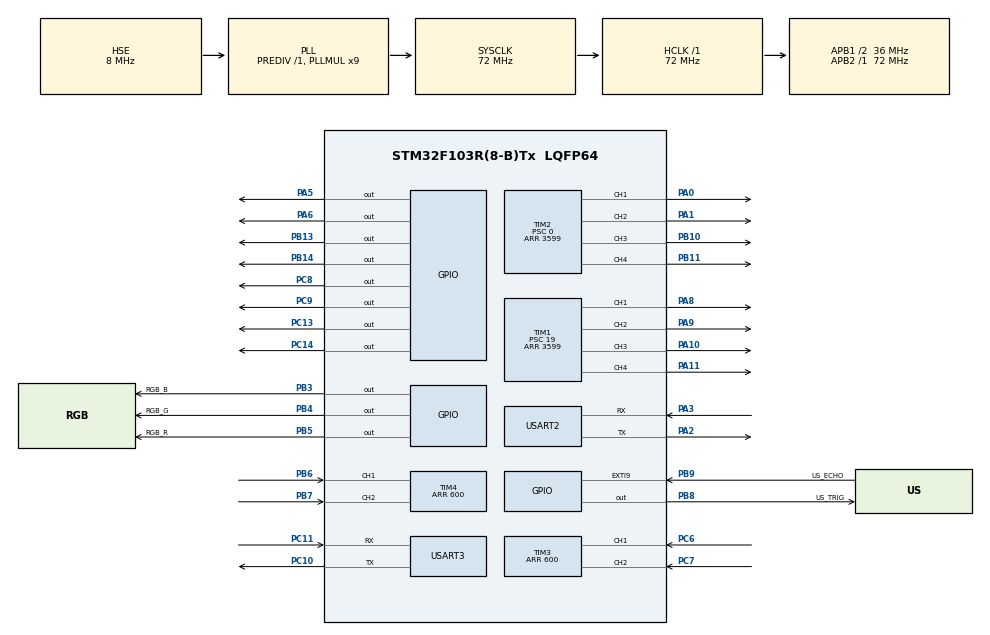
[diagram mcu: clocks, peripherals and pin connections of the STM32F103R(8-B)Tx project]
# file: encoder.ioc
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Mcu.Family=STM32F1
Mcu.Name=STM32F103R(8-B)Tx
Mcu.Package=LQFP64
NVIC.PriorityGroup=NVIC_PRIORITYGROUP_4
NVIC.TIM2_IRQn=true\:2\:0\:true\:false\:true\:true\:true\:true
NVIC.TIM3_IRQn=true\:0\:0\:true\:false\:true\:true\:true\:true
NVIC.USART2_IRQn=true\:1\:0\:false\:false\:true\:true\:true\:true
NVIC.USART3_IRQn=true\:1\:0\:false\:false\:true\:true\:true\:true
PA0-WKUP.Signal=S_TIM2_CH1_ETR
PA1.Signal=S_TIM2_CH2
PA10.Signal=S_TIM1_CH3
PA11.Signal=S_TIM1_CH4
PA13.Mode=Serial_Wire
PA13.Signal=SYS_JTMS-SWDIO
PA14.Mode=Serial_Wire
PA14.Signal=SYS_JTCK-SWCLK
PA2.Mode=Asynchronous
PA2.Signal=USART2_TX
PA3.Mode=Asynchronous
PA3.Signal=USART2_RX
PA5.Signal=GPIO_Output
PA6.Signal=GPIO_Output
PA8.Signal=S_TIM1_CH1
PA9.Signal=S_TIM1_CH2
PB10.Signal=S_TIM2_CH3
PB11.Signal=S_TIM2_CH4
PB13.Signal=GPIO_Output
PB14.Signal=GPIO_Output
PB3.GPIO_Label=RGB_B
PB3.Signal=GPIO_Output
PB4.GPIO_Label=RGB_G
PB4.Signal=GPIO_Output
PB5.GPIO_Label=RGB_R
PB5.Signal=GPIO_Output
PB6.GPIO_PuPd=GPIO_PULLUP
PB6.Signal=S_TIM4_CH1
PB7.GPIO_PuPd=GPIO_PULLUP
PB7.Signal=S_TIM4_CH2
PB8.GPIO_Label=US_TRIG
PB8.Signal=GPIO_Output
PB9.GPIO_ModeDefaultEXTI=GPIO_MODE_IT_RISING_FALLING
PB9.GPIO_Label=US_ECHO
PB9.Signal=GPXTI9
PC10.Mode=Asynchronous
PC10.Signal=USART3_TX
PC11.Mode=Asynchronous
PC11.Signal=USART3_RX
PC13-TAMPER-RTC.Signal=GPIO_Output
PC14-OSC32_IN.Signal=GPIO_Output
PC6.GPIO_PuPd=GPIO_PULLUP
PC6.Signal=S_TIM3_CH1
PC7.GPIO_PuPd=GPIO_PULLUP
PC7.Signal=S_TIM3_CH2
PC8.Signal=GPIO_Output
PC9.Signal=GPIO_Output
PD0-OSC_IN.Mode=HSE-External-Clock-Source
PD0-OSC_IN.Signal=RCC_OSC_IN
PD1-OSC_OUT.Mode=HSE-External-Clock-Source
PD1-OSC_OUT.Signal=RCC_OSC_OUT
ProjectManager.HeapSize=0x200
ProjectManager.StackSize=0x400
ProjectManager.TargetToolchain=STM32CubeIDE
RCC.AHBFreq_Value=72000000
RCC.APB1CLKDivider=RCC_HCLK_DIV2
RCC.APB1Freq_Value=36000000
RCC.APB1TimFreq_Value=72000000
RCC.APB2Freq_Value=72000000
RCC.APB2TimFreq_Value=72000000
RCC.EnbaleCSS=true
RCC.HCLKFreq_Value=72000000
RCC.PLLMUL=RCC_PLL_MUL9
RCC.PLLSourceVirtual=RCC_PLLSOURCE_HSE
RCC.SYSCLKFreq_VALUE=72000000
RCC.SYSCLKSource=RCC_SYSCLKSOURCE_PLLCLK
RCC.USBFreq_Value=72000000
SH.S_TIM1_CH1.0=TIM1_CH1,PWM Generation1 CH1
SH.S_TIM1_CH2.0=TIM1_CH2,PWM Generation2 CH2
SH.S_TIM1_CH3.0=TIM1_CH3,PWM Generation3 CH3
SH.S_TIM1_CH4.0=TIM1_CH4,PWM Generation4 CH4
SH.S_TIM2_CH1_ETR.0=TIM2_CH1,PWM Generation1 CH1
SH.S_TIM2_CH2.0=TIM2_CH2,PWM Generation2 CH2
SH.S_TIM2_CH3.0=TIM2_CH3,PWM Generation3 CH3
SH.S_TIM2_CH4.0=TIM2_CH4,PWM Generation4 CH4
SH.S_TIM3_CH1.0=TIM3_CH1,Encoder_Interface
SH.S_TIM3_CH2.0=TIM3_CH2,Encoder_Interface
SH.S_TIM4_CH1.0=TIM4_CH1,Encoder_Interface
SH.S_TIM4_CH2.0=TIM4_CH2,Encoder_Interface
TIM1.Channel-PWM\ Generation1\ CH1=TIM_CHANNEL_1
TIM1.Channel-PWM\ Generation2\ CH2=TIM_CHANNEL_2
TIM1.Channel-PWM\ Generation3\ CH3=TIM_CHANNEL_3
TIM1.Channel-PWM\ Generation4\ CH4=TIM_CHANNEL_4
TIM1.Period=3599
TIM1.Prescaler=19
TIM1.Pulse-PWM\ Generation1\ CH1=0
TIM2.Channel-PWM\ Generation1\ CH1=TIM_CHANNEL_1
TIM2.Channel-PWM\ Generation2\ CH2=TIM_CHANNEL_2
TIM2.Channel-PWM\ Generation3\ CH3=TIM_CHANNEL_3
TIM2.Channel-PWM\ Generation4\ CH4=TIM_CHANNEL_4
TIM2.Period=3599
TIM2.Prescaler=0
TIM3.IC1Filter=4
TIM3.IC2Filter=4
TIM3.Period=600
TIM4.EncoderMode=TIM_ENCODERMODE_TI12
TIM4.IC1Filter=4
TIM4.IC2Filter=4
TIM4.Period=600
USART2.VirtualMode=VM_ASYNC
USART3.VirtualMode=VM_ASYNC
VP_TIM1_VS_ClockSourceINT.Mode=Internal
VP_TIM2_VS_ClockSourceINT.Mode=Internal
board=custom
NVIC.EXTI9_5_IRQn=true\:0\:0\:true\:false\:true\:true\:true\:true

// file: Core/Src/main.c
/* USER CODE BEGIN Header */
/**
  ******************************************************************************
  * @file           : main.c
  * @brief          : Main program body
  ******************************************************************************
  * @attention
  *
  * Copyright (c) 2026 STMicroelectronics.
  * All rights reserved.
  *
  * This software is licensed under terms that can be found in the LICENSE file
  * in the root directory of this software component.
  * If no LICENSE file comes with this software, it is provided AS-IS.
  *
  ******************************************************************************
  */
/* USER CODE END Header */
#include "main.h"

/* USER CODE BEGIN Includes */
#include "fault_stop.h"
#include "robot_app.h"
#include "rgb_pwm.h"
#include "ultrasonic.h"
/* USER CODE END Includes */

TIM_HandleTypeDef htim1;
TIM_HandleTypeDef htim2;
TIM_HandleTypeDef htim3;
TIM_HandleTypeDef htim4;

UART_HandleTypeDef huart2;
UART_HandleTypeDef huart3;

/* USER CODE BEGIN PV */
static uint8_t rgb_gpio_ready;

/* USER CODE END PV */

void SystemClock_Config(void);
static void MX_GPIO_Init(void);
static void MX_TIM1_Init(void);
static void MX_TIM3_Init(void);
static void MX_USART3_UART_Init(void);
static void MX_TIM2_Init(void);
static void MX_USART2_UART_Init(void);
static void MX_TIM4_Init(void);

int main(void)
{

  /* MCU Configuration--------------------------------------------------------*/

  /* Reset of all peripherals, Initializes the Flash interface and the Systick. */
  HAL_Init();

  /* Configure the system clock */
  SystemClock_Config();

  /* Initialize all configured peripherals */
  MX_GPIO_Init();
  MX_TIM1_Init();
  MX_TIM3_Init();
  MX_USART3_UART_Init();
  MX_TIM2_Init();
  MX_USART2_UART_Init();
  MX_TIM4_Init();
  /* USER CODE BEGIN 2 */
  Robot_Init();
  /* Drive_Init started TIM2 PWM. Do not change PSC/ARR/CNT/CCR. */
  /* Robot_Init keeps RGB off until rail_mission opens its RR2 MISSION session. */
  __HAL_TIM_CLEAR_FLAG(&htim2, TIM_FLAG_UPDATE);
  HAL_NVIC_ClearPendingIRQ(TIM2_IRQn);
  HAL_NVIC_SetPriority(TIM2_IRQn, 2, 0);
  HAL_NVIC_EnableIRQ(TIM2_IRQn);
  __HAL_TIM_ENABLE_IT(&htim2, TIM_IT_UPDATE);
  /* 모든 초기화가 끝난 뒤 독립 워치독을 시작한다. 이후 main 루프(Robot_Update)가 약 0.5 s 넘게
   * 멈추면 MCU가 리셋되고 출력 핀은 풀다운으로 정지한다. 시작은 리셋 외에는 되돌릴 수 없다. */
  Watchdog_Start();
  /* USER CODE END 2 */

  /* Infinite loop */
  while (1)
  {

    /* USER CODE BEGIN 3 */
    Robot_Update();
  }
  /* USER CODE END 3 */
}

void SystemClock_Config(void)
{
  RCC_OscInitTypeDef RCC_OscInitStruct = {0};
  RCC_ClkInitTypeDef RCC_ClkInitStruct = {0};

  /** Initializes the RCC Oscillators according to the specified parameters
  * in the RCC_OscInitTypeDef structure.
  */
  RCC_OscInitStruct.OscillatorType = RCC_OSCILLATORTYPE_HSE;
  RCC_OscInitStruct.HSEState = RCC_HSE_BYPASS;
  RCC_OscInitStruct.HSEPredivValue = RCC_HSE_PREDIV_DIV1;
  RCC_OscInitStruct.HSIState = RCC_HSI_ON;
  RCC_OscInitStruct.PLL.PLLState = RCC_PLL_ON;
  RCC_OscInitStruct.PLL.PLLSource = RCC_PLLSOURCE_HSE;
  RCC_OscInitStruct.PLL.PLLMUL = RCC_PLL_MUL9;
  if (HAL_RCC_OscConfig(&RCC_OscInitStruct) != HAL_OK)
  {
    Error_Handler();
  }

  /** Initializes the CPU, AHB and APB buses clocks
  */
  RCC_ClkInitStruct.ClockType = RCC_CLOCKTYPE_HCLK|RCC_CLOCKTYPE_SYSCLK
                              |RCC_CLOCKTYPE_PCLK1|RCC_CLOCKTYPE_PCLK2;
  RCC_ClkInitStruct.SYSCLKSource = RCC_SYSCLKSOURCE_PLLCLK;
  RCC_ClkInitStruct.AHBCLKDivider = RCC_SYSCLK_DIV1;
  RCC_ClkInitStruct.APB1CLKDivider = RCC_HCLK_DIV2;
  RCC_ClkInitStruct.APB2CLKDivider = RCC_HCLK_DIV1;

  if (HAL_RCC_ClockConfig(&RCC_ClkInitStruct, FLASH_LATENCY_2) != HAL_OK)
  {
    Error_Handler();
  }

  /** Enables the Clock Security System
  */
  HAL_RCC_EnableCSS();
}

static void MX_TIM1_Init(void)
{

  TIM_ClockConfigTypeDef sClockSourceConfig = {0};
  TIM_MasterConfigTypeDef sMasterConfig = {0};
  TIM_OC_InitTypeDef sConfigOC = {0};
  TIM_BreakDeadTimeConfigTypeDef sBreakDeadTimeConfig = {0};

  htim1.Instance = TIM1;
  htim1.Init.Prescaler = 19;
  htim1.Init.CounterMode = TIM_COUNTERMODE_UP;
  htim1.Init.Period = 3599;
  htim1.Init.ClockDivision = TIM_CLOCKDIVISION_DIV1;
  htim1.Init.RepetitionCounter = 0;
  htim1.Init.AutoReloadPreload = TIM_AUTORELOAD_PRELOAD_DISABLE;
  if (HAL_TIM_Base_Init(&htim1) != HAL_OK)
  {
    Error_Handler();
  }
  sClockSourceConfig.ClockSource = TIM_CLOCKSOURCE_INTERNAL;
  if (HAL_TIM_ConfigClockSource(&htim1, &sClockSourceConfig) != HAL_OK)
  {
    Error_Handler();
  }
  if (HAL_TIM_PWM_Init(&htim1) != HAL_OK)
  {
    Error_Handler();
  }
  sMasterConfig.MasterOutputTrigger = TIM_TRGO_RESET;
  sMasterConfig.MasterSlaveMode = TIM_MASTERSLAVEMODE_DISABLE;
  if (HAL_TIMEx_MasterConfigSynchronization(&htim1, &sMasterConfig) != HAL_OK)
  {
    Error_Handler();
  }
  sConfigOC.OCMode = TIM_OCMODE_PWM1;
  sConfigOC.Pulse = 0;
  sConfigOC.OCPolarity = TIM_OCPOLARITY_HIGH;
  sConfigOC.OCNPolarity = TIM_OCNPOLARITY_HIGH;
  sConfigOC.OCFastMode = TIM_OCFAST_DISABLE;
  sConfigOC.OCIdleState = TIM_OCIDLESTATE_RESET;
  sConfigOC.OCNIdleState = TIM_OCNIDLESTATE_RESET;
  if (HAL_TIM_PWM_ConfigChannel(&htim1, &sConfigOC, TIM_CHANNEL_1) != HAL_OK)
  {
    Error_Handler();
  }
  if (HAL_TIM_PWM_ConfigChannel(&htim1, &sConfigOC, TIM_CHANNEL_2) != HAL_OK)
  {
    Error_Handler();
  }
  if (HAL_TIM_PWM_ConfigChannel(&htim1, &sConfigOC, TIM_CHANNEL_3) != HAL_OK)
  {
    Error_Handler();
  }
  if (HAL_TIM_PWM_ConfigChannel(&htim1, &sConfigOC, TIM_CHANNEL_4) != HAL_OK)
  {
    Error_Handler();
  }
  sBreakDeadTimeConfig.OffStateRunMode = TIM_OSSR_DISABLE;
  sBreakDeadTimeConfig.OffStateIDLEMode = TIM_OSSI_DISABLE;
  sBreakDeadTimeConfig.LockLevel = TIM_LOCKLEVEL_OFF;
  sBreakDeadTimeConfig.DeadTime = 0;
  sBreakDeadTimeConfig.BreakState = TIM_BREAK_DISABLE;
  sBreakDeadTimeConfig.BreakPolarity = TIM_BREAKPOLARITY_HIGH;
  sBreakDeadTimeConfig.AutomaticOutput = TIM_AUTOMATICOUTPUT_DISABLE;
  if (HAL_TIMEx_ConfigBreakDeadTime(&htim1, &sBreakDeadTimeConfig) != HAL_OK)
  {
    Error_Handler();
  }
  HAL_TIM_MspPostInit(&htim1);

}

static void MX_TIM2_Init(void)
{

  TIM_ClockConfigTypeDef sClockSourceConfig = {0};
  TIM_MasterConfigTypeDef sMasterConfig = {0};
  TIM_OC_InitTypeDef sConfigOC = {0};

  htim2.Instance = TIM2;
  htim2.Init.Prescaler = 0;
  htim2.Init.CounterMode = TIM_COUNTERMODE_UP;
  htim2.Init.Period = 3599;
  htim2.Init.ClockDivision = TIM_CLOCKDIVISION_DIV1;
  htim2.Init.AutoReloadPreload = TIM_AUTORELOAD_PRELOAD_DISABLE;
  if (HAL_TIM_Base_Init(&htim2) != HAL_OK)
  {
    Error_Handler();
  }
  sClockSourceConfig.ClockSource = TIM_CLOCKSOURCE_INTERNAL;
  if (HAL_TIM_ConfigClockSource(&htim2, &sClockSourceConfig) != HAL_OK)
  {
    Error_Handler();
  }
  if (HAL_TIM_PWM_Init(&htim2) != HAL_OK)
  {
    Error_Handler();
  }
  sMasterConfig.MasterOutputTrigger = TIM_TRGO_RESET;
  sMasterConfig.MasterSlaveMode = TIM_MASTERSLAVEMODE_DISABLE;
  if (HAL_TIMEx_MasterConfigSynchronization(&htim2, &sMasterConfig) != HAL_OK)
  {
    Error_Handler();
  }
  sConfigOC.OCMode = TIM_OCMODE_PWM1;
  sConfigOC.Pulse = 0;
  sConfigOC.OCPolarity = TIM_OCPOLARITY_HIGH;
  sConfigOC.OCFastMode = TIM_OCFAST_DISABLE;
  if (HAL_TIM_PWM_ConfigChannel(&htim2, &sConfigOC, TIM_CHANNEL_1) != HAL_OK)
  {
    Error_Handler();
  }
  if (HAL_TIM_PWM_ConfigChannel(&htim2, &sConfigOC, TIM_CHANNEL_2) != HAL_OK)
  {
    Error_Handler();
  }
  if (HAL_TIM_PWM_ConfigChannel(&htim2, &sConfigOC, TIM_CHANNEL_3) != HAL_OK)
  {
    Error_Handler();
  }
  if (HAL_TIM_PWM_ConfigChannel(&htim2, &sConfigOC, TIM_CHANNEL_4) != HAL_OK)
  {
    Error_Handler();
  }
  HAL_TIM_MspPostInit(&htim2);

}

static void MX_TIM3_Init(void)
{

  TIM_Encoder_InitTypeDef sConfig = {0};
  TIM_MasterConfigTypeDef sMasterConfig = {0};

  htim3.Instance = TIM3;
  htim3.Init.Prescaler = 0;
  htim3.Init.CounterMode = TIM_COUNTERMODE_UP;
  htim3.Init.Period = 600;
  htim3.Init.ClockDivision = TIM_CLOCKDIVISION_DIV1;
  htim3.Init.AutoReloadPreload = TIM_AUTORELOAD_PRELOAD_DISABLE;
  sConfig.EncoderMode = TIM_ENCODERMODE_TI1;
  sConfig.IC1Polarity = TIM_ICPOLARITY_RISING;
  sConfig.IC1Selection = TIM_ICSELECTION_DIRECTTI;
  sConfig.IC1Prescaler = TIM_ICPSC_DIV1;
  sConfig.IC1Filter = 4;
  sConfig.IC2Polarity = TIM_ICPOLARITY_RISING;
  sConfig.IC2Selection = TIM_ICSELECTION_DIRECTTI;
  sConfig.IC2Prescaler = TIM_ICPSC_DIV1;
  sConfig.IC2Filter = 4;
  if (HAL_TIM_Encoder_Init(&htim3, &sConfig) != HAL_OK)
  {
    Error_Handler();
  }
  sMasterConfig.MasterOutputTrigger = TIM_TRGO_RESET;
  sMasterConfig.MasterSlaveMode = TIM_MASTERSLAVEMODE_DISABLE;
  if (HAL_TIMEx_MasterConfigSynchronization(&htim3, &sMasterConfig) != HAL_OK)
  {
    Error_Handler();
  }

}

static void MX_TIM4_Init(void)
{

  TIM_Encoder_InitTypeDef sConfig = {0};
  TIM_MasterConfigTypeDef sMasterConfig = {0};

  htim4.Instance = TIM4;
  htim4.Init.Prescaler = 0;
  htim4.Init.CounterMode = TIM_COUNTERMODE_UP;
  htim4.Init.Period = 600;
  htim4.Init.ClockDivision = TIM_CLOCKDIVISION_DIV1;
  htim4.Init.AutoReloadPreload = TIM_AUTORELOAD_PRELOAD_DISABLE;
  sConfig.EncoderMode = TIM_ENCODERMODE_TI12;
  sConfig.IC1Polarity = TIM_ICPOLARITY_RISING;
  sConfig.IC1Selection = TIM_ICSELECTION_DIRECTTI;
  sConfig.IC1Prescaler = TIM_ICPSC_DIV1;
  sConfig.IC1Filter = 4;
  sConfig.IC2Polarity = TIM_ICPOLARITY_RISING;
  sConfig.IC2Selection = TIM_ICSELECTION_DIRECTTI;
  sConfig.IC2Prescaler = TIM_ICPSC_DIV1;
  sConfig.IC2Filter = 4;
  if (HAL_TIM_Encoder_Init(&htim4, &sConfig) != HAL_OK)
  {
    Error_Handler();
  }
  sMasterConfig.MasterOutputTrigger = TIM_TRGO_RESET;
  sMasterConfig.MasterSlaveMode = TIM_MASTERSLAVEMODE_DISABLE;
  if (HAL_TIMEx_MasterConfigSynchronization(&htim4, &sMasterConfig) != HAL_OK)
  {
    Error_Handler();
  }

}

static void MX_USART2_UART_Init(void)
{

  huart2.Instance = USART2;
  huart2.Init.BaudRate = 115200;
  huart2.Init.WordLength = UART_WORDLENGTH_8B;
  huart2.Init.StopBits = UART_STOPBITS_1;
  huart2.Init.Parity = UART_PARITY_NONE;
  huart2.Init.Mode = UART_MODE_TX_RX;
  huart2.Init.HwFlowCtl = UART_HWCONTROL_NONE;
  huart2.Init.OverSampling = UART_OVERSAMPLING_16;
  if (HAL_UART_Init(&huart2) != HAL_OK)
  {
    Error_Handler();
  }

}

static void MX_USART3_UART_Init(void)
{

  huart3.Instance = USART3;
  huart3.Init.BaudRate = 115200;
  huart3.Init.WordLength = UART_WORDLENGTH_8B;
  huart3.Init.StopBits = UART_STOPBITS_1;
  huart3.Init.Parity = UART_PARITY_NONE;
  huart3.Init.Mode = UART_MODE_TX_RX;
  huart3.Init.HwFlowCtl = UART_HWCONTROL_NONE;
  huart3.Init.OverSampling = UART_OVERSAMPLING_16;
  if (HAL_UART_Init(&huart3) != HAL_OK)
  {
    Error_Handler();
  }

}

static void MX_GPIO_Init(void)
{
  GPIO_InitTypeDef GPIO_InitStruct = {0};

  /* GPIO Ports Clock Enable */
  __HAL_RCC_GPIOC_CLK_ENABLE();
  __HAL_RCC_GPIOD_CLK_ENABLE();
  __HAL_RCC_GPIOA_CLK_ENABLE();
  __HAL_RCC_GPIOB_CLK_ENABLE();

  /*Configure GPIO pin Output Level */
  HAL_GPIO_WritePin(GPIOC, GPIO_PIN_13|GPIO_PIN_14|GPIO_PIN_8|GPIO_PIN_9, GPIO_PIN_RESET);

  /*Configure GPIO pin Output Level */
  HAL_GPIO_WritePin(GPIOA, GPIO_PIN_5|GPIO_PIN_6, GPIO_PIN_RESET);

  /*Configure GPIO pin Output Level */
  HAL_GPIO_WritePin(GPIOB, GPIO_PIN_13|GPIO_PIN_14|RGB_B_Pin|RGB_G_Pin
                          |RGB_R_Pin, GPIO_PIN_RESET);

  /*Configure GPIO pins : PC13 PC14 PC8 PC9 */
  GPIO_InitStruct.Pin = GPIO_PIN_13|GPIO_PIN_14|GPIO_PIN_8|GPIO_PIN_9;
  GPIO_InitStruct.Mode = GPIO_MODE_OUTPUT_PP;
  GPIO_InitStruct.Pull = GPIO_NOPULL;
  GPIO_InitStruct.Speed = GPIO_SPEED_FREQ_LOW;
  HAL_GPIO_Init(GPIOC, &GPIO_InitStruct);

  /*Configure GPIO pins : PA5 PA6 */
  GPIO_InitStruct.Pin = GPIO_PIN_5|GPIO_PIN_6;
  GPIO_InitStruct.Mode = GPIO_MODE_OUTPUT_PP;
  GPIO_InitStruct.Pull = GPIO_NOPULL;
  GPIO_InitStruct.Speed = GPIO_SPEED_FREQ_LOW;
  HAL_GPIO_Init(GPIOA, &GPIO_InitStruct);

  /*Configure GPIO pins : PB13 PB14 RGB_B_Pin RGB_G_Pin
                           RGB_R_Pin */
  GPIO_InitStruct.Pin = GPIO_PIN_13|GPIO_PIN_14|RGB_B_Pin|RGB_G_Pin
                          |RGB_R_Pin;
  GPIO_InitStruct.Mode = GPIO_MODE_OUTPUT_PP;
  GPIO_InitStruct.Pull = GPIO_NOPULL;
  GPIO_InitStruct.Speed = GPIO_SPEED_FREQ_LOW;
  HAL_GPIO_Init(GPIOB, &GPIO_InitStruct);

  /*Configure GPIO pin : PB8 TRIG */
  HAL_GPIO_WritePin(GPIOB,GPIO_PIN_8,GPIO_PIN_RESET);
  GPIO_InitStruct.Pin = GPIO_PIN_8;
  GPIO_InitStruct.Mode = GPIO_MODE_OUTPUT_PP;
  GPIO_InitStruct.Speed = GPIO_SPEED_FREQ_LOW;
  GPIO_InitStruct.Pull = GPIO_NOPULL;
  HAL_GPIO_Init(GPIOB, &GPIO_InitStruct);

  /*Configure GPIO pin : PB9 */
  GPIO_InitStruct.Pin = GPIO_PIN_9;
  GPIO_InitStruct.Mode = GPIO_MODE_IT_RISING_FALLING;
  GPIO_InitStruct.Pull = GPIO_NOPULL;
  HAL_GPIO_Init(GPIOB, &GPIO_InitStruct);

  /* USER CODE BEGIN MX_GPIO_Init_2 */
  /* HAL_MspInit has already disabled JTAG, retaining SWD for PB3/PB4. */
  /* Off preload before GPIO output mode, also for active-low builds.
   * For active-low Cube regeneration, set PB3..5 PinState=SET in .ioc too. */
  RGB_Init();
  GPIO_InitStruct.Pin = RGB_R_Pin | RGB_G_Pin | RGB_B_Pin;
  GPIO_InitStruct.Mode = GPIO_MODE_OUTPUT_PP;
  GPIO_InitStruct.Pull = GPIO_NOPULL;
  GPIO_InitStruct.Speed = GPIO_SPEED_FREQ_LOW;
  HAL_GPIO_Init(GPIOB, &GPIO_InitStruct);

  HAL_NVIC_SetPriority(EXTI9_5_IRQn,0,0);
  HAL_NVIC_EnableIRQ(EXTI9_5_IRQn);
  rgb_gpio_ready = 1U;
  /* USER CODE END MX_GPIO_Init_2 */
}

/* USER CODE BEGIN 4 */
void HAL_GPIO_EXTI_Callback(uint16_t pin)
{
  if (pin==GPIO_PIN_9) Ultrasonic_OnEcho(HAL_GPIO_ReadPin(GPIOB,GPIO_PIN_9)==GPIO_PIN_SET);
}

void HAL_UART_RxCpltCallback(UART_HandleTypeDef *huart)
{
  Robot_OnUartRx(huart);
}

void HAL_UART_ErrorCallback(UART_HandleTypeDef *huart)
{
  Robot_OnUartError(huart);
}

void HAL_TIM_PeriodElapsedCallback(TIM_HandleTypeDef *htim)
{
  Robot_OnEncoderUpdate(htim);
}

/* USER CODE END 4 */

void Error_Handler(void)
{
  /* USER CODE BEGIN Error_Handler_Debug */
  /* HAL 초기화/송신 실패 등은 IRQ를 막고 주행·청소를 OFF한 뒤 무한 대기한다.
   * debugger가 여기서 멈췄다면 이 함수 자체보다 호출 직전 HAL 반환값과 주변장치 설정을 확인한다. */
  /* User can add his own implementation to report the HAL error return state */
  __disable_irq();
  Robot_FatalStop();
  /* Keep safety IRQ shutdown. DWT can time the fatal blink without SysTick. */
  if (rgb_gpio_ready)
  {
    uint32_t stamp, half_cycles = SystemCoreClock / 2U;
    uint8_t red_on = 1U;
    RGB_ForceRed();
    CoreDebug->DEMCR |= CoreDebug_DEMCR_TRCENA_Msk;
    DWT->CTRL |= DWT_CTRL_CYCCNTENA_Msk;
    stamp = DWT->CYCCNT;
    while (1)
    {
      /* 래치된 치명 오류: 전원을 끌 때까지 빨간 깜빡임을 유지하도록 워치독 먹이를 계속 준다. */
      Watchdog_Feed();
      uint32_t now = DWT->CYCCNT;
      /* Invalid clock information: stay red instead of flashing at an unsafe rate. */
      if (half_cycles != 0U && (uint32_t)(now - stamp) >= half_cycles)
      {
        stamp = now;
        red_on ^= 1U;
        if (red_on) RGB_ForceRed(); else RGB_ForceOff();
      }
    }
  }
  while (1)
  {
    Watchdog_Feed();
  }
  /* USER CODE END Error_Handler_Debug */
}
